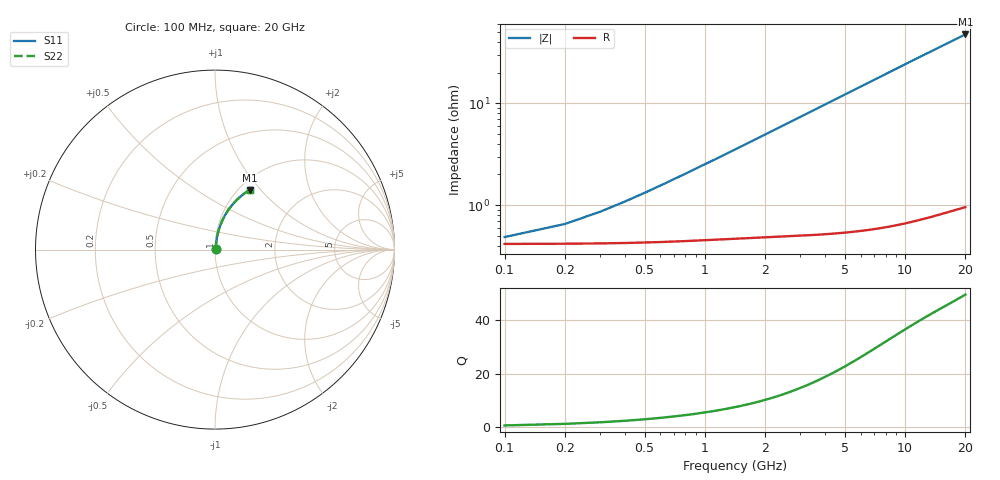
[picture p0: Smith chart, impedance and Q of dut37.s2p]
! Touchstone file exported from HFSS 2026.1.0
!  File:  C:/ffzhzh/LocalFiles/Ansys_Project_Files/temp_train_BSMRDL_37_1782882334_43084.aedt
!  Generated:  01:06:47 PM Jul  1, 2026
!  Design:  BSMRDL
!  Project:  temp_train_BSMRDL_37_1782882334_43084
! Variables:
!  h_bsmrdl = 2.36um
!  h_ox = 20um
!  h_rdl = 5um
!  h_sub = 80um
!  h_tmrdl = 5um
!  h_tsv = 80um
!  h_via = 3um
!  l_bsmrdl = 284.46um
!  l_sub = 684.46um
!  l_tmrdl = 200um
!  m_sub = 200um
!  pitch = 58.93um
!  r_tsv = 6um
!  s_tmrdl = 10um
!  w_bsmrdl = 10.77um
!  w_sub = 500um
!  w_tmrdl = 12um
!  x_tsv_center1 = 206um
!  x_tsv_center2 = 501.23um
!  x_tsv_center3 = 713.23um
!  x_tsv_center4 = 1008.46um
!  x_tsv_center5 = 1220.46um
!  x_tsv_center6 = 1515.69um
# GHz S MA R 50.000000
! Terminal data exported
! Port[1] = BSM_RDL1_1_T1
! Port[2] = BSM_RDL1_1_T2
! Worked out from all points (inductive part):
!   200 points, 100 MHz to 20 GHz, reference 50 ohm
!   read as one part in series: L = 395 pH near 600 MHz
!   highest Q = 49.7 at 20 GHz (marker M1), where L = 378 pH
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0.1  0.0047 28.1  0.9959 -0.2  0.9959 -0.2  0.0047 28.1
! Gamma 0 0 0 0
! Port Impedance 50 0 50 0
0.3  0.007877 57.4  0.9958 -0.5  0.9958 -0.5  0.007877 57.4
0.4  0.009836 63.9  0.9957 -0.6  0.9957 -0.6  0.009836 63.9
0.5  0.01188 68.1  0.9957 -0.8  0.9957 -0.8  0.01188 68.1
0.6  0.01396 71.0  0.9956 -0.9  0.9956 -0.9  0.01396 71.0
0.7  0.01606 73.1  0.9955 -1.1  0.9955 -1.1  0.01606 73.1
0.9  0.02029 75.9  0.9953 -1.4  0.9953 -1.4  0.02029 75.9
1.2  0.02666 78.2  0.9951 -1.9  0.9951 -1.9  0.02666 78.2
1.4  0.03091 79.2  0.9949 -2.2  0.9949 -2.2  0.03091 79.2
1.7  0.03729 80.1  0.9946 -2.6  0.9946 -2.6  0.03729 80.1
2.2  0.04793 80.8  0.994 -3.4  0.994 -3.4  0.04793 80.8
2.8  0.0607 81.0  0.9932 -4.3  0.9932 -4.3  0.0607 81.0
3.5  0.07558 80.8  0.9921 -5.4  0.9921 -5.4  0.07558 80.8
4.2  0.0904 80.2  0.9908 -6.5  0.9908 -6.5  0.0904 80.2
5  0.1072 79.5  0.9889 -7.7  0.9889 -7.7  0.1072 79.5
5.9  0.1261 78.4  0.9866 -9.1  0.9866 -9.1  0.1261 78.4
6.8  0.1447 77.3  0.9838 -10.4  0.9838 -10.4  0.1447 77.3
8.3  0.1752 75.4  0.9785 -12.7  0.9785 -12.7  0.1752 75.4
10.1  0.211 72.9  0.9711 -15.3  0.9711 -15.3  0.211 72.9
13.4  0.2736 68.4  0.9546 -20.1  0.9546 -20.1  0.2736 68.4
16.7  0.3317 64.0  0.9353 -24.6  0.9353 -24.6  0.3317 64.0
20  0.3853 59.8  0.9141 -28.9  0.9141 -28.9  0.3853 59.8
